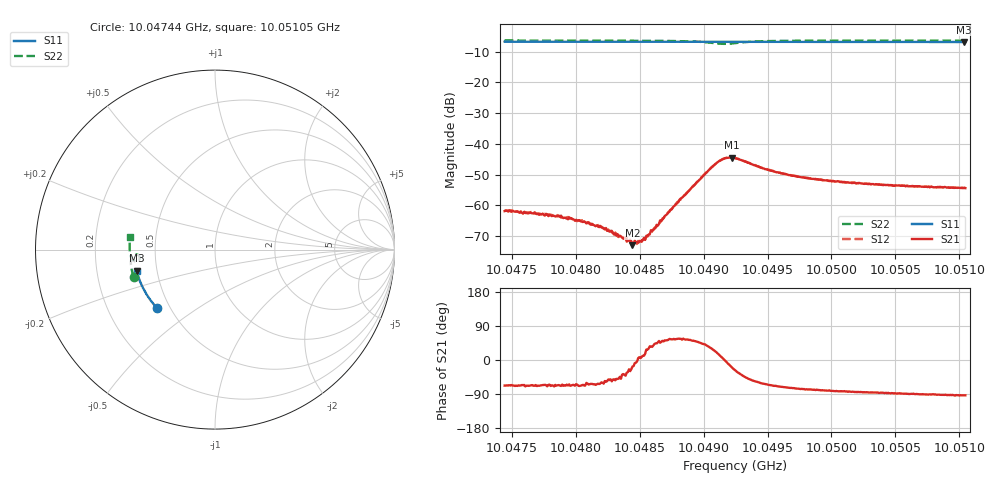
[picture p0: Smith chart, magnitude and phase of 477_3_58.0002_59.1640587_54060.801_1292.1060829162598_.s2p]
#  HZ  S  RI  R  50.00
! Rohde & Schwarz Vector Network Analyzer
! Rohde-Schwarz,ZNB20-2Port,1311601062101988,3.16
! Created: UTC 3/21/2024, 1:11:43 AM
! freq[Hz]  re:S11  im:S11  re:S21  im:S21  re:S12  im:S12  re:S22  im:S22
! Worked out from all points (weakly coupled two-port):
!   401 points, 10.04744 GHz to 10.05105 GHz, reference 50 ohm
!   highest |S21| = -44.45 dB at 10.04922 GHz (marker M1); lowest = -73.0 dB at 10.04844 GHz (marker M2)
!   lowest |S11| = -6.9 dB at 10.05104 GHz (marker M3), VSWR 2.65, Z = 19.1 - j5.67 ohm
!   |S11| at or under -10 dB: nowhere
!   |S22| runs from -7.5 to -6.4 dB; largest |S21 - S12| = 0.00043
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1.0047443e10  -0.3253 -0.3231  0.00031 -0.000746  0.000344 -0.000753  -0.4538 -0.1536
1.0047867e10  -0.3437 -0.3019  0.000274 -0.000618  0.000283 -0.000617  -0.4614 -0.1252
1.0048047e10  -0.3511 -0.2926  0.000215 -0.000502  0.000291 -0.000495  -0.464 -0.1129
1.0048164e10  -0.3559 -0.2865  0.000207 -0.000426  0.000271 -0.000427  -0.4657 -0.1043
1.0048218e10  -0.3581 -0.2838  0.000199 -0.000381  0.000235 -0.000347  -0.4663 -0.1004
1.0048317e10  -0.3621 -0.2785  0.000209 -0.000246  0.000249 -0.000243  -0.4672 -0.093
1.004838e10  -0.3645 -0.2752  0.000229 -0.000184  0.000246 -0.000144  -0.4677 -0.0884
1.0048444e10  -0.3669 -0.2716  0.000214 -6.65e-05  0.000229 -5.72e-05  -0.4682 -0.0831
1.0048462e10  -0.3673 -0.2706  0.000267 -3.95e-05  0.000215 -3.78e-05  -0.4684 -0.0817
1.0048525e10  -0.3699 -0.2672  0.00027 5.37e-05  0.000246 6.58e-05  -0.4684 -0.0766
1.0048561e10  -0.3711 -0.2652  0.000285 0.000146  0.000287 0.000122  -0.4684 -0.0735
1.0048651e10  -0.3744 -0.2604  0.000322 0.000385  0.000337 0.000379  -0.4682 -0.0656
1.0048795e10  -0.3795 -0.2523  0.000615 0.000902  0.000602 0.000966  -0.4659 -0.0515
1.0049065e10  -0.3883 -0.2369  0.00366 0.00207  0.00355 0.00232  -0.4367 -0.027
1.0049147e10  -0.3907 -0.2324  0.00557 0.000551  0.00555 0.000903  -0.4206 -0.039
1.0049219e10  -0.3929 -0.2286  0.00568 -0.00191  0.00583 -0.00156  -0.4234 -0.0583
1.0049246e10  -0.3937 -0.2271  0.00524 -0.00266  0.00543 -0.00232  -0.4287 -0.0632
1.0049552e10  -0.4034 -0.2093  0.00131 -0.0033  0.00152 -0.00324  -0.4681 -0.0441
1.004985e10  -0.4116 -0.1915  0.000544 -0.00264  0.000699 -0.00266  -0.4747 -0.0172
1.0050453e10  -0.4258 -0.1546  8.18e-05 -0.00212  0.000214 -0.00214  -0.4754 0.0277
1.0051039e10  -0.4366 -0.1178  -0.000101 -0.00193  -8.52e-06 -0.00192  -0.4713 0.068
1.0051048e10  -0.4367 -0.1173  -0.000111 -0.00191  -2.43e-05 -0.00192  -0.4711 0.0685
